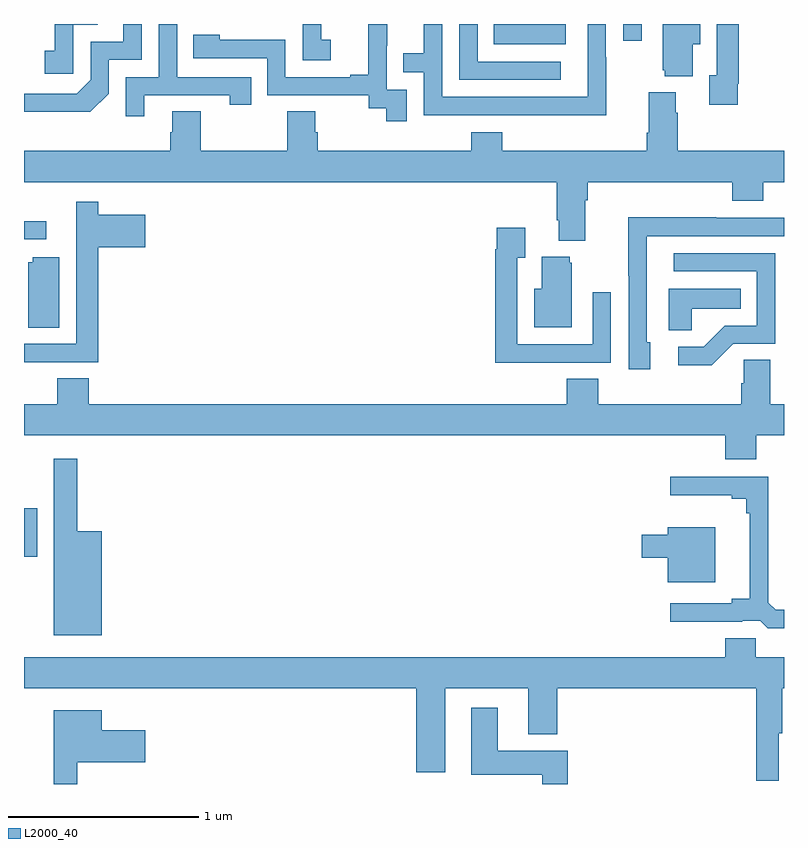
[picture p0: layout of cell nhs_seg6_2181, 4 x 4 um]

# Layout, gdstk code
import gdstk
lib = gdstk.Library(unit=1e-6, precision=1e-09)
def R(c, l, rs):  # rectangles x0, y0, x1, y1
    for r in rs: c.add(gdstk.rectangle(r[:2], r[2:], *l))
def P(c, l, *ps):  # polygons
    for p in ps: c.add(gdstk.Polygon(p, *l))
L2000_40 = (2000, 40)

nhs_seg6_2181 = lib.new_cell('nhs_seg6_2181')
R(nhs_seg6_2181, L2000_40, [(241,946.697,241.069,946.951), (241,948.366,241.117,948.463), (244.155,949.413,244.251,949.5)])
P(nhs_seg6_2181, L2000_40, [(243.85,949.5),(243.729,949.5),(243.729,949.498),(243.472,949.498),(243.472,949.394),(243.85,949.394)],
  [(243.826,949.302),(243.387,949.302),(243.387,949.5),(243.291,949.5),(243.291,949.206),(243.826,949.206)],
  [(244.756,949.186),(244.763,949.186),(244.763,949.5),(244.647,949.5),(244.647,949.23),(244.607,949.23),(244.607,949.074),(244.756,949.074)],
  [(244.519,949.394),(244.558,949.394),(244.558,949.5),(244.361,949.5),(244.361,949.257),(244.373,949.257),(244.373,949.226),(244.519,949.226)],
  [(243.015,949.155),(242.91,949.155),(242.91,949.385),(242.912,949.385),(242.912,949.5),(242.813,949.5),(242.813,949.234),(242.717,949.234),(242.717,949.221),(242.376,949.221),(242.376,949.416),(242.031,949.416),(242.031,949.443),(241.891,949.443),(241.891,949.32),(242.28,949.32),(242.28,949.125),(242.814,949.125),(242.814,949.057),(242.907,949.057),(242.907,948.987),(243.015,948.987)],
  [(241.633,949.125),(242.084,949.125),(242.084,949.074),(242.195,949.074),(242.195,949.221),(241.806,949.221),(241.806,949.5),(241.71,949.5),(241.71,949.221),(241.536,949.221),(241.536,949.014),(241.633,949.014)],
  [(242.614,949.417),(242.565,949.417),(242.565,949.5),(242.466,949.5),(242.466,949.308),(242.614,949.308)],
  [(241.26,949.497),(241.389,949.497),(241.389,949.5),(241.163,949.5),(241.163,949.359),(241.11,949.359),(241.11,949.239),(241.26,949.239)],
  [(244.065,949.325),(244.062,949.325),(244.062,949.5),(243.966,949.5),(243.966,949.116),(243.201,949.116),(243.201,949.5),(243.105,949.5),(243.105,949.346),(242.995,949.346),(242.995,949.245),(243.105,949.245),(243.105,949.02),(243.601,949.02),(243.601,949.019),(244.065,949.019)],
  [(241.446,949.134),(241.446,949.311),(241.62,949.311),(241.62,949.5),(241.523,949.5),(241.523,949.407),(241.35,949.407),(241.35,949.206),(241.278,949.134),(241,949.134),(241,949.037),(241.348,949.037)],
  [(243.955,948.572),(243.968,948.572),(243.968,948.668),(244.727,948.668),(244.727,948.569),(244.892,948.569),(244.892,948.668),(245,948.668),(245,948.832),(244.442,948.832),(244.442,949.034),(244.429,949.034),(244.429,949.141),(244.289,949.141),(244.289,948.928),(244.277,948.928),(244.277,948.832),(243.518,948.832),(243.518,948.931),(243.353,948.931),(243.353,948.832),(242.546,948.832),(242.546,948.93),(242.533,948.93),(242.533,949.04),(242.386,949.04),(242.386,948.832),(241.929,948.832),(241.929,949.04),(241.781,949.04),(241.781,948.93),(241.769,948.93),(241.769,948.832),(241,948.832),(241,948.668),(243.803,948.668),(243.803,948.466),(243.815,948.466),(243.815,948.359),(243.955,948.359)],
  [(241.091,947.721),(241.391,947.721),(241.391,948.326),(241.639,948.326),(241.639,948.496),(241.391,948.496),(241.391,948.565),(241.274,948.565),(241.274,948.342),(241.275,948.342),(241.275,947.817),(241,947.817),(241,947.719),(241.091,947.719)],
  [(244.297,947.826),(244.278,947.826),(244.278,948.384),(245,948.384),(245,948.48),(244.643,948.48),(244.643,948.482),(244.18,948.482),(244.18,948.175),(244.182,948.175),(244.182,947.682),(244.297,947.682)],
  [(243.773,947.718),(244.089,947.718),(244.089,948.088),(243.993,948.088),(243.993,947.814),(243.597,947.814),(243.597,948.271),(243.637,948.271),(243.637,948.427),(243.489,948.427),(243.489,948.314),(243.481,948.314),(243.481,947.717),(243.773,947.717)],
  [(244.734,947.817),(244.953,947.817),(244.953,948.294),(244.419,948.294),(244.419,948.198),(244.857,948.198),(244.857,947.913),(244.688,947.913),(244.577,947.802),(244.443,947.802),(244.443,947.705),(244.621,947.705)],
  [(243.883,948.243),(243.872,948.243),(243.872,948.274),(243.725,948.274),(243.725,948.106),(243.686,948.106),(243.686,947.903),(243.883,947.903)],
  [(241.186,948.273),(241.047,948.273),(241.047,948.246),(241.022,948.246),(241.022,947.902),(241.186,947.902)],
  [(244.515,948.002),(244.772,948.002),(244.772,948.106),(244.394,948.106),(244.394,947.887),(244.515,947.887)],
  [(244.855,947.336),(245,947.336),(245,947.5),(244.927,947.5),(244.927,947.732),(244.788,947.732),(244.788,947.609),(244.775,947.609),(244.775,947.5),(244.022,947.5),(244.022,947.633),(243.857,947.633),(243.857,947.5),(241.34,947.5),(241.34,947.636),(241.175,947.636),(241.175,947.5),(241,947.5),(241,947.336),(244.691,947.336),(244.691,947.208),(244.855,947.208)],
  [(241.408,946.831),(241.279,946.831),(241.279,947.212),(241.157,947.212),(241.157,946.283),(241.408,946.283)],
  [(245,946.416),(244.956,946.416),(244.917,946.455),(244.917,947.118),(244.401,947.118),(244.401,947.021),(244.724,947.021),(244.724,947.002),(244.801,947.002),(244.801,946.925),(244.82,946.925),(244.82,946.475),(244.724,946.475),(244.724,946.452),(244.401,946.452),(244.401,946.355),(244.781,946.355),(244.781,946.359),(244.875,946.359),(244.915,946.32),(245,946.32)],
  [(244.639,946.852),(244.388,946.852),(244.388,946.813),(244.251,946.813),(244.251,946.691),(244.388,946.691),(244.388,946.562),(244.639,946.562)],
  [(244.973,945.768),(244.991,945.768),(244.991,946.004),(245,946.004),(245,946.168),(244.851,946.168),(244.851,946.266),(244.691,946.266),(244.691,946.168),(241,946.168),(241,946.004),(243.065,946.004),(243.065,945.563),(243.217,945.563),(243.217,946.004),(243.653,946.004),(243.653,945.761),(243.806,945.761),(243.806,946.004),(244.855,946.004),(244.855,945.516),(244.973,945.516)],
  [(243.863,945.676),(243.493,945.676),(243.493,945.901),(243.353,945.901),(243.353,945.548),(243.728,945.548),(243.728,945.5),(243.863,945.5)],
  [(241.279,945.614),(241.639,945.614),(241.639,945.784),(241.408,945.784),(241.408,945.889),(241.157,945.889),(241.157,945.5),(241.279,945.5)])

lib.write_gds('nhs_seg6_2181.gds')
